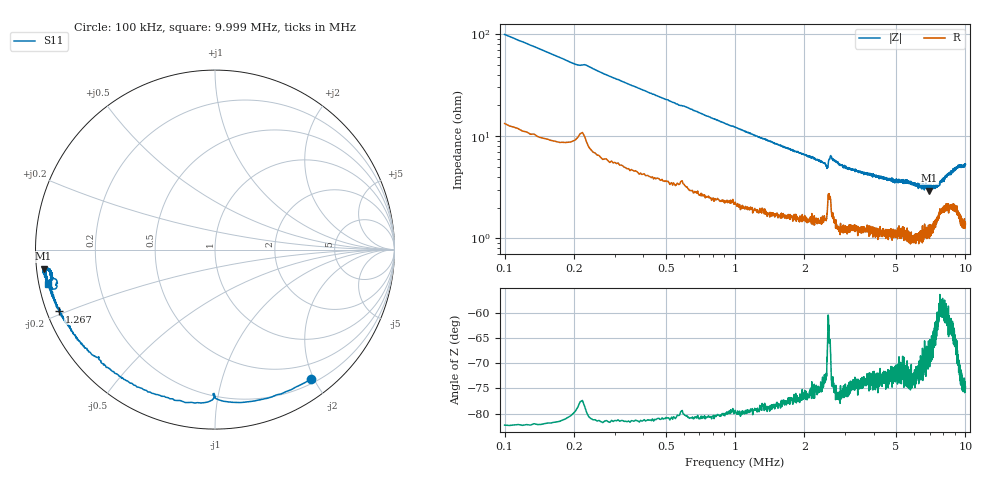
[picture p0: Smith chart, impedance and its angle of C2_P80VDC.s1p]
# HZ S RI R 50
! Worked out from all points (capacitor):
!   2020 points, 100 kHz to 9.999 MHz, reference 50 ohm
!   read as one part to ground: C = 14.9 nF near 149 kHz
!   lowest |Z| = 2.93 ohm at 6.979 MHz (marker M1)
!   S11 on the Smith chart (normalised r, x): 100 kHz: 0.27, -1.96; 1.267 MHz: 0.04, -0.19; 9.999 MHz: 0.03, -0.10
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100000  0.5344 -0.7205
124515  0.3977 -0.7903
153933  0.237 -0.8391
202963  0.00736 -0.8316
237284  -0.0569 -0.8524
296120  -0.2512 -0.8309
335344  -0.3413 -0.8026
379471  -0.4275 -0.7662
472628  -0.5556 -0.6901
595203  -0.653 -0.6018
776614  -0.7576 -0.5074
958025  -0.8079 -0.429
1266914  -0.8678 -0.3447
1340459  -0.8734 -0.3345
1796438  -0.9038 -0.2619
2335768  -0.9206 -0.2067
2507373  -0.9182 -0.1669
2576015  -0.8862 -0.1939
2644657  -0.9104 -0.2127
2811359  -0.9323 -0.1996
3056509  -0.9346 -0.1758
3816474  -0.9468 -0.1545
5052030  -0.947 -0.1318
6287586  -0.9515 -0.1176
6978909  -0.9552 -0.1056
7528045  -0.9341 -0.1102
8763601  -0.9092 -0.1463
9999157  -0.9279 -0.1905
